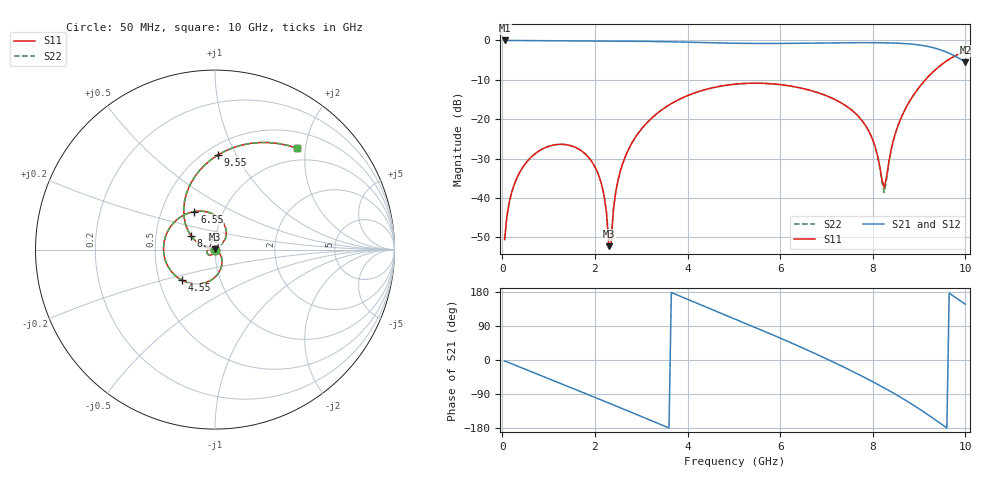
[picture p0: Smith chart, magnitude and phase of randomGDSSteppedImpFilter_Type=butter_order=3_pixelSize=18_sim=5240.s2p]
! freq	dB(S11)	phase(S11)	dB(S12)	phase(S12)
!  dB(S21)	phase(S21)	dB(S22)	phase(S22)
!S-par simulation data
#  GHz  S  DB  R 50
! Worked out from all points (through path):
!   200 points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, 50 MHz to 10 GHz, reference 50 ohm
!   highest |S21| = 0.00 dB at 50 MHz (marker M1); lowest = -5.5 dB at 10 GHz (marker M2)
!   group delay of S21, straight-line fit = 152 ps
!   lowest |S11| = -52.2 dB at 2.3 GHz (marker M3), VSWR 1.00, Z = 49.9 + j0.209 ohm
!   |S11| at or under -10 dB: start of sweep to 9.135 GHz
!   |S22| runs from -50.6 to -2.8 dB; largest |S21 - S12| = 0
!   S11 on the Smith chart (normalised r, x): 50 MHz: 1.00, -0.01; 4.55 GHz: 0.65, -0.24; 6.55 GHz: 0.73, +0.33; 8.75 GHz: 0.76, +0.12; 9.55 GHz: 0.58, +0.85; 10 GHz: 0.77, +1.85
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0.05  -50.55 -90.9  -0.00 -2.5  -0.00 -2.5  -50.55 -90.9
0.2  -38.67 -99.1  -0.01 -9.9  -0.01 -9.9  -38.67 -99.1
0.55  -30.53 -117.5  -0.04 -27.1  -0.04 -27.1  -30.52 -117.6
1.75  -28.38 -178.2  -0.10 -86.2  -0.10 -86.2  -28.37 -179.0
2.15  -36.80 159.1  -0.12 -106.0  -0.12 -106.0  -36.75 156.1
2.3  -52.21 121.4  -0.13 -113.5  -0.13 -113.5  -50.55 109.2
2.35  -51.55 0.3  -0.13 -116.0  -0.13 -116.0  -50.12 15.1
2.45  -38.46 -26.4  -0.14 -121.1  -0.14 -121.1  -38.38 -22.1
2.65  -29.65 -39.8  -0.16 -131.1  -0.16 -131.1  -29.64 -38.1
3.4  -18.00 -79.2  -0.29 -169.2  -0.29 -169.2  -18.00 -78.6
4.55  -11.98 -137.5  -0.61 132.4  -0.61 132.4  -11.99 -137.3
5.05  -11.07 -162.9  -0.72 107.0  -0.72 107.0  -11.07 -162.7
5.8  -10.99 158.6  -0.77 68.5  -0.77 68.5  -10.99 158.6
6.55  -12.36 118.5  -0.71 28.3  -0.71 28.3  -12.36 118.4
6.7  -12.84 110.3  -0.68 20.0  -0.68 20.0  -12.84 110.1
7.8  -20.85 49.3  -0.56 -44.6  -0.56 -44.6  -20.86 48.2
8.05  -26.94 41.7  -0.57 -60.6  -0.57 -60.6  -27.00 39.4
8.25  -37.36 106.9  -0.60 -73.8  -0.60 -73.8  -38.62 106.7
8.35  -30.56 157.5  -0.63 -80.7  -0.63 -80.7  -30.86 160.7
8.75  -16.35 150.2  -0.84 -109.4  -0.84 -109.4  -16.37 150.9
9.55  -5.56 88.3  -2.76 -175.0  -2.76 -175.0  -5.56 88.4
10  -2.77 50.9  -5.52 147.2  -5.52 147.2  -2.77 50.9
